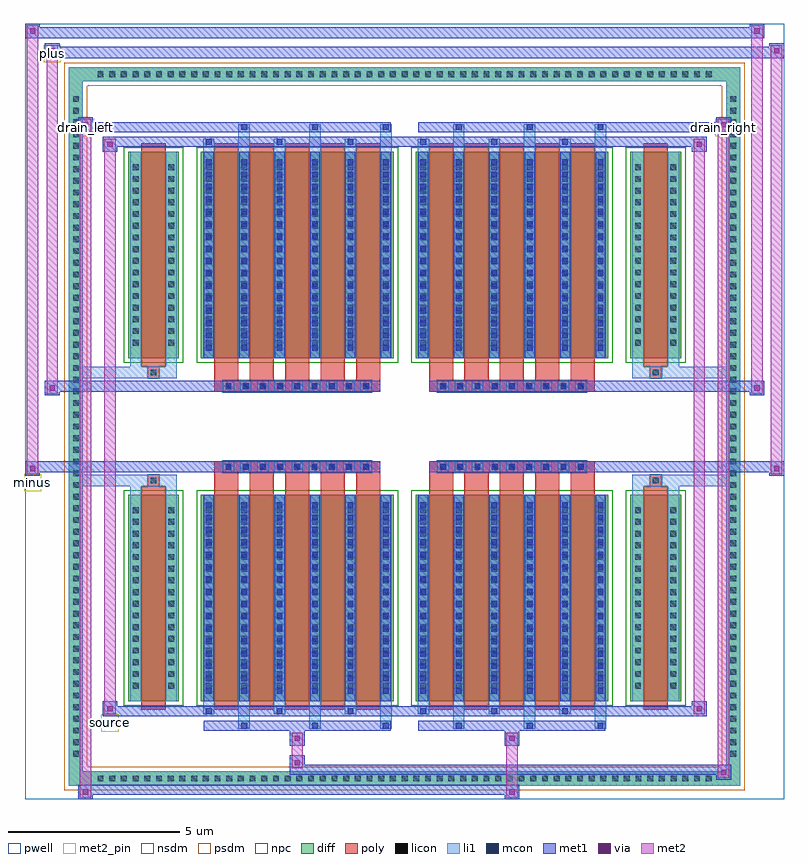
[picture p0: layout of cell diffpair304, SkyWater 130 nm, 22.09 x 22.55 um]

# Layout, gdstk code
import gdstk
lib = gdstk.Library(unit=1e-6, precision=5e-09)
def R(c, l, rs):  # rectangles x0, y0, x1, y1
    for r in rs: c.add(gdstk.rectangle(r[:2], r[2:], *l))
def A(c, l, x, y, w, h, nx, ny, dx, dy):  # array of equal rectangles
    R(c, l, [(x+i*dx, y+j*dy, x+i*dx+w, y+j*dy+h) for i in range(nx) for j in range(ny)])
def P(c, l, *ps):  # polygons
    for p in ps: c.add(gdstk.Polygon(p, *l))
pwell = (64, 44)
diff = (65, 20)
poly = (66, 20)
licon = (66, 44)
li1 = (67, 20)
mcon = (67, 44)
met1 = (68, 20)
via = (68, 44)
met2_pin = (69, 16)
met2 = (69, 20)
nsdm = (93, 44)
psdm = (94, 20)
npc = (95, 20)

diffpair304 = lib.new_cell('diffpair304')
R(diffpair304, pwell, [(-11.03,-10.84,11.03,11.71), (-8.35,-9.03,-0.01,-0.805), (0.01,-9.03,8.35,-0.805), (-8.35,0.805,-0.01,9.03), (0.01,0.805,8.35,9.03)])
A(diffpair304, diff, -9.045, -10.44, 0.41, 0.41, 53, 2, 0.34, 20.47)
A(diffpair304, diff, -9.76, -9.725, 0.41, 0.41, 1, 57, 0, 0.34)
A(diffpair304, diff, 9.35, -9.725, 0.41, 0.41, 1, 57, 0, 0.34)
R(diffpair304, diff, [(-9.045,-10.44,9.045,-10.03), (-9.76,-9.725,-9.35,9.725), (9.35,-9.725,9.76,9.725), (-8.04,-7.985,-6.56,-1.985), (-5.92,-7.985,-0.32,-1.985), (0.32,-7.985,5.92,-1.985), (6.56,-7.985,8.04,-1.985), (-8.04,1.985,-6.56,7.985), (-5.92,1.985,-0.32,7.985), (0.32,1.985,5.92,7.985), (6.56,1.985,8.04,7.985), (-9.045,10.03,9.045,10.44)])
P(diffpair304, diff, [(9.76,10.44),(-9.76,10.44),(-9.76,-10.03),(-9.35,-10.03),(-9.35,10.03),(9.35,10.03),(9.35,-10.03),(-9.35,-10.03),(-9.76,-10.03),(-9.76,-10.44),(9.76,-10.44)])
A(diffpair304, poly, -5.53, -8.235, 0.7, 6.5, 5, 2, 1.03, 9.97)
A(diffpair304, poly, 0.71, -8.235, 0.7, 6.5, 5, 2, 1.03, 9.97)
A(diffpair304, poly, -5.53, -1.735, 0.7, 0.4, 5, 2, 1.03, 3.07)
A(diffpair304, poly, 0.71, -1.735, 0.7, 0.4, 5, 2, 1.03, 3.07)
A(diffpair304, poly, -5.285, -1.335, 0.33, 0.33, 9, 2, 0.5, 2.34)
A(diffpair304, poly, 0.955, -1.335, 0.33, 0.33, 9, 2, 0.5, 2.34)
R(diffpair304, poly, [(-7.65,-8.235,-6.95,-1.735), (6.95,-8.235,7.65,-1.735), (-7.465,-1.735,-7.135,-1.405), (-7.465,-1.735,-7.135,-1.405), (7.135,-1.735,7.465,-1.405), (7.135,-1.735,7.465,-1.405), (-5.53,-1.335,-0.71,-1.005), (0.71,-1.335,5.53,-1.005), (-5.53,1.005,-0.71,1.335), (0.71,1.005,5.53,1.335), (-7.465,1.405,-7.135,1.735), (-7.465,1.405,-7.135,1.735), (7.135,1.405,7.465,1.735), (7.135,1.405,7.465,1.735), (-7.65,1.735,-6.95,8.235), (6.95,1.735,7.65,8.235)])
A(diffpair304, licon, -8.925, -10.32, 0.17, 0.17, 53, 2, 0.34, 20.47)
A(diffpair304, licon, -9.64, -9.605, 0.17, 0.17, 1, 57, 0, 0.34)
A(diffpair304, licon, 9.47, -9.605, 0.17, 0.17, 1, 57, 0, 0.34)
A(diffpair304, licon, -7.9, -7.62, 0.17, 0.17, 1, 16, 0, 0.34)
A(diffpair304, licon, -6.87, -7.62, 0.17, 0.17, 1, 16, 0, 0.34)
A(diffpair304, licon, -5.78, -7.62, 0.17, 0.17, 6, 16, 1.03, 0.34)
A(diffpair304, licon, 0.46, -7.62, 0.17, 0.17, 6, 16, 1.03, 0.34)
A(diffpair304, licon, 6.7, -7.62, 0.17, 0.17, 1, 16, 0, 0.34)
A(diffpair304, licon, 7.73, -7.62, 0.17, 0.17, 1, 16, 0, 0.34)
A(diffpair304, licon, -5.205, -1.255, 0.17, 0.17, 9, 2, 0.5, 2.34)
A(diffpair304, licon, 1.035, -1.255, 0.17, 0.17, 9, 2, 0.5, 2.34)
A(diffpair304, licon, -7.9, 2.35, 0.17, 0.17, 1, 16, 0, 0.34)
A(diffpair304, licon, -6.87, 2.35, 0.17, 0.17, 1, 16, 0, 0.34)
A(diffpair304, licon, -5.78, 2.35, 0.17, 0.17, 6, 16, 1.03, 0.34)
A(diffpair304, licon, 0.46, 2.35, 0.17, 0.17, 6, 16, 1.03, 0.34)
A(diffpair304, licon, 6.7, 2.35, 0.17, 0.17, 1, 16, 0, 0.34)
A(diffpair304, licon, 7.73, 2.35, 0.17, 0.17, 1, 16, 0, 0.34)
R(diffpair304, licon, [(-7.385,-1.655,-7.215,-1.485), (7.215,-1.655,7.385,-1.485), (-7.385,1.485,-7.215,1.655), (7.215,1.485,7.385,1.655)])
A(diffpair304, li1, -9.005, -10.4, 0.33, 0.33, 53, 2, 0.34, 20.47)
A(diffpair304, li1, -9.72, -9.685, 0.33, 0.33, 1, 57, 0, 0.34)
A(diffpair304, li1, 9.39, -9.685, 0.33, 0.33, 1, 57, 0, 0.34)
A(diffpair304, li1, -4.83, -8.79, 0.33, 0.805, 3, 2, 2.06, 16.775)
A(diffpair304, li1, -4.75, -8.79, 0.17, 0.17, 3, 2, 2.06, 17.41)
A(diffpair304, li1, 1.41, -8.79, 0.33, 0.805, 3, 2, 2.06, 16.775)
A(diffpair304, li1, 1.49, -8.79, 0.17, 0.17, 3, 2, 2.06, 17.41)
A(diffpair304, li1, -5.86, -8.36, 0.33, 0.375, 3, 2, 2.06, 16.345)
A(diffpair304, li1, -5.78, -8.36, 0.17, 0.17, 3, 2, 2.06, 16.55)
A(diffpair304, li1, 0.38, -8.36, 0.33, 0.375, 3, 2, 2.06, 16.345)
A(diffpair304, li1, 0.46, -8.36, 0.17, 0.17, 3, 2, 2.06, 16.55)
A(diffpair304, li1, -5.86, -7.985, 0.33, 6, 6, 2, 1.03, 9.97)
A(diffpair304, li1, 0.38, -7.985, 0.33, 6, 6, 2, 1.03, 9.97)
A(diffpair304, li1, -5.78, -7.77, 0.17, 0.17, 6, 16, 1.03, 0.36)
A(diffpair304, li1, -5.78, -7.77, 0.17, 5.57, 6, 2, 1.03, 9.97)
A(diffpair304, li1, 0.46, -7.77, 0.17, 0.17, 6, 16, 1.03, 0.36)
A(diffpair304, li1, 0.46, -7.77, 0.17, 5.57, 6, 2, 1.03, 9.97)
A(diffpair304, li1, -7.98, -7.7, 0.33, 0.33, 1, 16, 0, 0.34)
A(diffpair304, li1, -6.95, -7.7, 0.33, 0.33, 1, 16, 0, 0.34)
A(diffpair304, li1, -5.86, -7.7, 0.33, 0.33, 6, 16, 1.03, 0.34)
A(diffpair304, li1, 0.38, -7.7, 0.33, 0.33, 6, 16, 1.03, 0.34)
A(diffpair304, li1, 6.62, -7.7, 0.33, 0.33, 1, 16, 0, 0.34)
A(diffpair304, li1, 7.65, -7.7, 0.33, 0.33, 1, 16, 0, 0.34)
A(diffpair304, li1, -5.285, -1.335, 0.33, 0.33, 9, 2, 0.5, 2.34)
A(diffpair304, li1, 0.955, -1.335, 0.33, 0.33, 9, 2, 0.5, 2.34)
A(diffpair304, li1, -5.78, 2.2, 0.17, 0.17, 6, 16, 1.03, 0.36)
A(diffpair304, li1, 0.46, 2.2, 0.17, 0.17, 6, 16, 1.03, 0.36)
A(diffpair304, li1, -7.98, 2.27, 0.33, 0.33, 1, 16, 0, 0.34)
A(diffpair304, li1, -6.95, 2.27, 0.33, 0.33, 1, 16, 0, 0.34)
A(diffpair304, li1, -5.86, 2.27, 0.33, 0.33, 6, 16, 1.03, 0.34)
A(diffpair304, li1, 0.38, 2.27, 0.33, 0.33, 6, 16, 1.03, 0.34)
A(diffpair304, li1, 6.62, 2.27, 0.33, 0.33, 1, 16, 0, 0.34)
A(diffpair304, li1, 7.65, 2.27, 0.33, 0.33, 1, 16, 0, 0.34)
R(diffpair304, li1, [(-9.76,-10.44,-9.35,-10.03), (-9.76,-10.44,-9.35,-10.03), (-9.35,-10.44,9.35,-10.03), (9.35,-10.44,9.76,-10.03), (9.35,-10.44,9.76,-10.03), (-9.76,-10.03,-9.35,10.03), (9.35,-10.03,9.76,10.03), (-7.98,-7.985,-7.65,-1.985), (-6.95,-7.985,-6.62,-1.985), (6.62,-7.985,6.95,-1.985), (7.65,-7.985,7.98,-1.985), (-7.98,-1.985,-7.65,-1.405), (-6.95,-1.985,-6.62,-1.405), (6.62,-1.985,6.95,-1.405), (7.65,-1.985,7.98,-1.405), (-9.76,-1.735,-7.465,-1.405), (-7.98,-1.735,-7.465,-1.405), (-7.465,-1.735,-7.135,-1.405), (-7.135,-1.735,-6.62,-1.405), (6.62,-1.735,7.135,-1.405), (7.135,-1.735,7.465,-1.405), (7.135,-1.735,9.76,-1.405), (7.465,-1.735,7.98,-1.405), (-9.76,1.405,-7.465,1.735), (-7.98,1.405,-7.465,1.735), (-7.98,1.405,-7.65,1.985), (-7.465,1.405,-7.135,1.735), (-7.135,1.405,-6.62,1.735), (-6.95,1.405,-6.62,1.985), (6.62,1.405,7.135,1.735), (6.62,1.405,6.95,1.985), (7.135,1.405,7.465,1.735), (7.135,1.405,9.76,1.735), (7.465,1.405,7.98,1.735), (7.65,1.405,7.98,1.985), (-7.98,1.985,-7.65,7.985), (-6.95,1.985,-6.62,7.985), (6.62,1.985,6.95,7.985), (7.65,1.985,7.98,7.985), (-9.76,10.03,-9.35,10.44), (-9.76,10.03,-9.35,10.44), (-9.35,10.03,9.35,10.44), (9.35,10.03,9.76,10.44), (9.35,10.03,9.76,10.44)])
A(diffpair304, mcon, -4.75, -8.79, 0.17, 0.17, 3, 2, 2.06, 17.41)
A(diffpair304, mcon, 1.49, -8.79, 0.17, 0.17, 3, 2, 2.06, 17.41)
A(diffpair304, mcon, -5.78, -8.36, 0.17, 0.17, 3, 2, 2.06, 16.55)
A(diffpair304, mcon, 0.46, -8.36, 0.17, 0.17, 3, 2, 2.06, 16.55)
A(diffpair304, mcon, -5.78, -7.77, 0.17, 0.17, 6, 16, 1.03, 0.36)
A(diffpair304, mcon, 0.46, -7.77, 0.17, 0.17, 6, 16, 1.03, 0.36)
A(diffpair304, mcon, -5.205, -1.255, 0.17, 0.17, 9, 2, 0.5, 2.34)
A(diffpair304, mcon, 1.035, -1.255, 0.17, 0.17, 9, 2, 0.5, 2.34)
A(diffpair304, mcon, -5.78, 2.2, 0.17, 0.17, 6, 16, 1.03, 0.36)
A(diffpair304, mcon, 0.46, 2.2, 0.17, 0.17, 6, 16, 1.03, 0.36)
A(diffpair304, met1, -4.81, -8.85, 0.29, 0.29, 3, 2, 2.06, 17.41)
A(diffpair304, met1, 1.43, -8.85, 0.29, 0.29, 3, 2, 2.06, 17.41)
A(diffpair304, met1, -5.84, -8.42, 0.29, 0.29, 3, 2, 2.06, 16.55)
A(diffpair304, met1, 0.4, -8.42, 0.29, 0.29, 3, 2, 2.06, 16.55)
A(diffpair304, met1, -5.84, -7.985, 0.29, 6, 6, 2, 1.03, 9.97)
A(diffpair304, met1, 0.4, -7.985, 0.29, 6, 6, 2, 1.03, 9.97)
A(diffpair304, met1, -5.84, -7.83, 0.29, 0.29, 6, 16, 1.03, 0.36)
A(diffpair304, met1, 0.4, -7.83, 0.29, 0.29, 6, 16, 1.03, 0.36)
A(diffpair304, met1, -5.265, -1.315, 0.29, 0.29, 9, 2, 0.5, 2.34)
A(diffpair304, met1, 0.975, -1.315, 0.29, 0.29, 9, 2, 0.5, 2.34)
A(diffpair304, met1, -5.84, 2.14, 0.29, 0.29, 6, 16, 1.03, 0.36)
A(diffpair304, met1, 0.4, 2.14, 0.29, 0.29, 6, 16, 1.03, 0.36)
R(diffpair304, met1, [(-9.49,-10.84,-9.06,-10.41), (2.905,-10.84,3.335,-10.41), (-9.49,-10.7,3.335,-10.41), (9.06,-10.27,9.49,-9.84), (-3.335,-10.13,9.49,-9.84), (-3.335,-9.99,-2.905,-9.56), (-3.335,-9.28,-2.905,-8.85), (2.905,-9.28,3.335,-8.85), (-5.84,-8.85,-0.4,-8.56), (0.4,-8.85,5.84,-8.56), (-8.78,-8.42,-8.35,-7.99), (-8.78,-8.42,-5.84,-8.13), (-5.84,-8.42,-0.4,-8.13), (-0.4,-8.42,0.4,-8.13), (0.4,-8.42,5.84,-8.13), (5.84,-8.42,8.78,-8.13), (8.35,-8.42,8.78,-7.99), (-11.03,-1.435,-10.6,-1.005), (10.6,-1.435,11.03,-1.005), (-11.03,-1.335,-0.71,-1.005), (-5.53,-1.335,-0.71,-1.005), (0.71,-1.335,5.53,-1.005), (0.71,-1.335,11.03,-1.005), (-10.46,0.905,-10.03,1.335), (10.03,0.905,10.46,1.335), (-10.46,1.005,-5.53,1.335), (-5.53,1.005,-0.71,1.335), (0.71,1.005,5.53,1.335), (5.53,1.005,10.46,1.335), (-8.78,7.99,-8.35,8.42), (8.35,7.99,8.78,8.42), (-8.78,8.13,-5.84,8.42), (-5.84,8.13,-0.4,8.42), (-0.4,8.13,0.4,8.42), (0.4,8.13,5.84,8.42), (5.84,8.13,8.78,8.42), (-9.49,8.56,-9.06,8.99), (-9.49,8.56,-5.84,8.85), (-5.84,8.56,-0.4,8.85), (0.4,8.56,5.84,8.85), (5.84,8.56,9.49,8.85), (9.06,8.56,9.49,8.99), (-10.46,10.71,-10.03,11.14), (-10.46,10.71,-8.35,11.04), (-8.35,10.71,8.35,11.04), (8.35,10.71,11.03,11.04), (10.6,10.71,11.03,11.14), (-11.03,11.28,-10.6,11.71), (-11.03,11.28,-8.35,11.61), (-8.35,11.28,8.35,11.61), (8.35,11.28,10.46,11.61), (10.03,11.28,10.46,11.71)])
R(diffpair304, via, [(-9.35,-10.7,-9.2,-10.55), (3.045,-10.7,3.195,-10.55), (9.2,-10.13,9.35,-9.98), (-3.195,-9.85,-3.045,-9.7), (-3.195,-9.14,-3.045,-8.99), (3.045,-9.14,3.195,-8.99), (-8.64,-8.28,-8.49,-8.13), (8.49,-8.28,8.64,-8.13), (-10.89,-1.295,-10.74,-1.145), (10.74,-1.295,10.89,-1.145), (-10.32,1.045,-10.17,1.195), (10.17,1.045,10.32,1.195), (-8.64,8.13,-8.49,8.28), (8.49,8.13,8.64,8.28), (-9.35,8.7,-9.2,8.85), (9.2,8.7,9.35,8.85), (-10.32,10.85,-10.17,11), (10.74,10.85,10.89,11), (-10.89,11.42,-10.74,11.57), (10.17,11.42,10.32,11.57)])
R(diffpair304, met2_pin, [(-8.815,-8.87,-8.315,-8.37), (-11.065,-1.885,-10.565,-1.385), (-9.525,8.44,-9.025,8.94), (9.025,8.44,9.525,8.94), (-10.495,10.59,-9.995,11.09)])
R(diffpair304, met2, [(-9.44,-10.79,-9.11,-10.46), (-9.44,-10.79,-9.11,8.94), (2.955,-10.79,3.285,-10.46), (2.955,-10.46,3.285,-9.23), (9.11,-10.22,9.44,-9.89), (9.11,-10.22,9.44,8.94), (-3.285,-9.94,-2.955,-9.61), (-3.285,-9.61,-2.955,-9.23), (-3.285,-9.23,-2.955,-8.9), (2.955,-9.23,3.285,-8.9), (-8.73,-8.37,-8.4,-8.04), (-8.73,-8.37,-8.4,8.37), (8.4,-8.37,8.73,-8.04), (8.4,-8.37,8.73,8.37), (-10.98,-1.385,-10.65,-1.055), (-10.98,-1.385,-10.65,11.66), (10.65,-1.385,10.98,-1.055), (10.65,-1.385,10.98,11.09), (-10.41,0.955,-10.08,1.285), (-10.41,0.955,-10.08,11.09), (10.08,0.955,10.41,1.285), (10.08,0.955,10.41,11.66), (-8.73,8.04,-8.4,8.37), (8.4,8.04,8.73,8.37), (-9.44,8.61,-9.11,8.94), (9.11,8.61,9.44,8.94), (-10.41,10.76,-10.08,11.09), (10.65,10.76,10.98,11.09), (-10.98,11.33,-10.65,11.66), (10.08,11.33,10.41,11.66)])
P(diffpair304, met2, [(10.98,-1.385),(10.98,-1.385),(10.98,-1.055),(10.98,-1.055)],
  [(10.98,10.76),(10.98,10.76),(10.98,11.09),(10.98,11.09)],
  [(-10.65,-1.385),(-10.65,-1.385),(-10.65,-1.055),(-10.65,-1.055)],
  [(-10.65,11.33),(-10.65,11.33),(-10.65,11.66),(-10.65,11.66)],
  [(10.41,0.955),(10.41,0.955),(10.41,1.285),(10.41,1.285)],
  [(10.41,11.33),(10.41,11.33),(10.41,11.66),(10.41,11.66)],
  [(-10.08,0.955),(-10.08,0.955),(-10.08,1.285),(-10.08,1.285)],
  [(-10.08,10.76),(-10.08,10.76),(-10.08,11.09),(-10.08,11.09)],
  [(-9.11,-10.79),(-9.11,-10.79),(-9.11,-10.46),(-9.11,-10.46)],
  [(-9.11,8.61),(-9.11,8.61),(-9.11,8.94),(-9.11,8.94)],
  [(9.44,-10.22),(9.44,-10.22),(9.44,-9.89),(9.44,-9.89)],
  [(9.44,8.61),(9.44,8.61),(9.44,8.94),(9.44,8.94)],
  [(-8.4,-8.37),(-8.4,-8.37),(-8.4,-8.04),(-8.4,-8.04)],
  [(-8.4,8.04),(-8.4,8.04),(-8.4,8.37),(-8.4,8.37)],
  [(8.73,-8.37),(8.73,-8.37),(8.73,-8.04),(8.73,-8.04)],
  [(8.73,8.04),(8.73,8.04),(8.73,8.37),(8.73,8.37)])
R(diffpair304, nsdm, [(-8.17,-8.115,-6.43,-1.855), (-6.05,-8.115,-0.19,-1.855), (0.19,-8.115,6.05,-1.855), (6.43,-8.115,8.17,-1.855), (-8.17,1.855,-6.43,8.115), (-6.05,1.855,-0.19,8.115), (0.19,1.855,6.05,8.115), (6.43,1.855,8.17,8.115)])
P(diffpair304, psdm, [(9.89,10.57),(-9.89,10.57),(-9.89,-9.9),(-9.22,-9.9),(-9.22,9.9),(9.22,9.9),(9.22,-9.9),(-9.22,-9.9),(-9.89,-9.9),(-9.89,-10.57),(9.89,-10.57)])
A(diffpair304, npc, -5.305, -1.355, 0.37, 0.37, 9, 2, 0.5, 2.34)
A(diffpair304, npc, 0.935, -1.355, 0.37, 0.37, 9, 2, 0.5, 2.34)
R(diffpair304, npc, [(-7.485,-1.755,-7.115,-1.385), (7.115,-1.755,7.485,-1.385), (-5.305,-1.355,-4.435,-0.985), (-5.305,-1.355,-4.435,-0.985), (-4.805,-1.355,-3.935,-0.985), (-4.805,-1.355,-3.935,-0.985), (-4.305,-1.355,-3.435,-0.985), (-4.305,-1.355,-3.435,-0.985), (-3.805,-1.355,-2.935,-0.985), (-3.805,-1.355,-2.935,-0.985), (-3.305,-1.355,-2.435,-0.985), (-3.305,-1.355,-2.435,-0.985), (-2.805,-1.355,-1.935,-0.985), (-2.805,-1.355,-1.935,-0.985), (-2.305,-1.355,-1.435,-0.985), (-2.305,-1.355,-1.435,-0.985), (-1.805,-1.355,-0.935,-0.985), (-1.805,-1.355,-0.935,-0.985), (0.935,-1.355,1.805,-0.985), (0.935,-1.355,1.805,-0.985), (1.435,-1.355,2.305,-0.985), (1.435,-1.355,2.305,-0.985), (1.935,-1.355,2.805,-0.985), (1.935,-1.355,2.805,-0.985), (2.435,-1.355,3.305,-0.985), (2.435,-1.355,3.305,-0.985), (2.935,-1.355,3.805,-0.985), (2.935,-1.355,3.805,-0.985), (3.435,-1.355,4.305,-0.985), (3.435,-1.355,4.305,-0.985), (3.935,-1.355,4.805,-0.985), (3.935,-1.355,4.805,-0.985), (4.435,-1.355,5.305,-0.985), (4.435,-1.355,5.305,-0.985), (-5.305,0.985,-4.435,1.355), (-5.305,0.985,-4.435,1.355), (-4.805,0.985,-3.935,1.355), (-4.805,0.985,-3.935,1.355), (-4.305,0.985,-3.435,1.355), (-4.305,0.985,-3.435,1.355), (-3.805,0.985,-2.935,1.355), (-3.805,0.985,-2.935,1.355), (-3.305,0.985,-2.435,1.355), (-3.305,0.985,-2.435,1.355), (-2.805,0.985,-1.935,1.355), (-2.805,0.985,-1.935,1.355), (-2.305,0.985,-1.435,1.355), (-2.305,0.985,-1.435,1.355), (-1.805,0.985,-0.935,1.355), (-1.805,0.985,-0.935,1.355), (0.935,0.985,1.805,1.355), (0.935,0.985,1.805,1.355), (1.435,0.985,2.305,1.355), (1.435,0.985,2.305,1.355), (1.935,0.985,2.805,1.355), (1.935,0.985,2.805,1.355), (2.435,0.985,3.305,1.355), (2.435,0.985,3.305,1.355), (2.935,0.985,3.805,1.355), (2.935,0.985,3.805,1.355), (3.435,0.985,4.305,1.355), (3.435,0.985,4.305,1.355), (3.935,0.985,4.805,1.355), (3.935,0.985,4.805,1.355), (4.435,0.985,5.305,1.355), (4.435,0.985,5.305,1.355), (-7.485,1.385,-7.115,1.755), (7.115,1.385,7.485,1.755)])
diffpair304.add(gdstk.Label('minus', (-10.815,-1.635), layer=69, texttype=5))
diffpair304.add(gdstk.Label('drain_right', (9.275,8.69), layer=69, texttype=5))
diffpair304.add(gdstk.Label('drain_left', (-9.275,8.69), layer=69, texttype=5))
diffpair304.add(gdstk.Label('source', (-8.565,-8.62), layer=69, texttype=5))
diffpair304.add(gdstk.Label('plus', (-10.245,10.84), layer=69, texttype=5))

lib.write_gds('diffpair304.gds')
